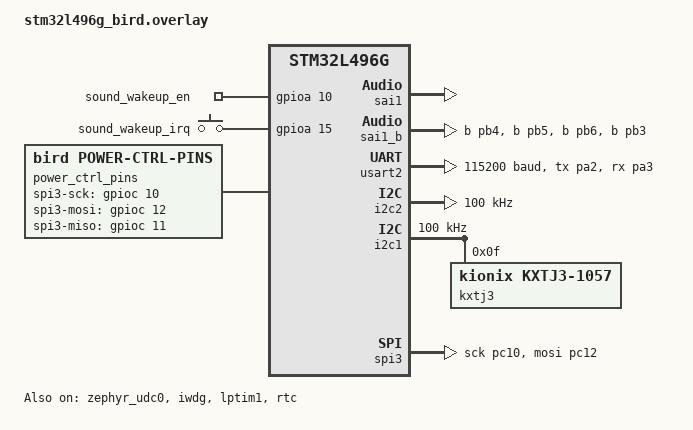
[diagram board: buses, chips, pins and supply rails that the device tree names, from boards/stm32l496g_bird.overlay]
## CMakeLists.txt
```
# SPDX-License-Identifier: Apache-2.0

cmake_minimum_required(VERSION 3.20.0)

find_package(Zephyr REQUIRED HINTS $ENV{ZEPHYR_BASE})
project(app_bird)

if(NOT DEFINED CONFIG_APP_INFERENCE_LABEL_CNT)
    message(FATAL_ERROR "CONFIG_APP_INFERENCE_LABEL_CNT is not defined")
endif()

if(NOT DEFINED CONFIG_APP_INFERENCE_LABELS_FILE OR "${CONFIG_APP_INFERENCE_LABELS_FILE}" STREQUAL "")
    message(FATAL_ERROR "CONFIG_APP_INFERENCE_LABELS_FILE is not defined")
endif()

set(APP_INFERENCE_LABELS_FILE "${CONFIG_APP_INFERENCE_LABELS_FILE}")
if(IS_ABSOLUTE "${APP_INFERENCE_LABELS_FILE}")
    set(APP_INFERENCE_LABELS_PATH "${APP_INFERENCE_LABELS_FILE}")
else()
    set(APP_INFERENCE_LABELS_PATH "${CMAKE_CURRENT_SOURCE_DIR}/${APP_INFERENCE_LABELS_FILE}")
endif()

if(NOT EXISTS "${APP_INFERENCE_LABELS_PATH}")
    message(FATAL_ERROR "Inference label list file not found: ${APP_INFERENCE_LABELS_PATH}")
endif()

set_property(DIRECTORY APPEND PROPERTY CMAKE_CONFIGURE_DEPENDS "${APP_INFERENCE_LABELS_PATH}")

file(READ "${APP_INFERENCE_LABELS_PATH}" APP_INFERENCE_LABELS_CONTENT)
string(REPLACE "\r\n" "\n" APP_INFERENCE_LABELS_CONTENT "${APP_INFERENCE_LABELS_CONTENT}")
string(REPLACE "\r" "\n" APP_INFERENCE_LABELS_CONTENT "${APP_INFERENCE_LABELS_CONTENT}")
string(REPLACE "\n" ";" APP_INFERENCE_LABEL_LINES "${APP_INFERENCE_LABELS_CONTENT}")

set(APP_INFERENCE_LABELS)
foreach(APP_INFERENCE_LABEL_LINE IN LISTS APP_INFERENCE_LABEL_LINES)
    string(STRIP "${APP_INFERENCE_LABEL_LINE}" APP_INFERENCE_LABEL)
    if(NOT "${APP_INFERENCE_LABEL}" STREQUAL "")
        list(APPEND APP_INFERENCE_LABELS "${APP_INFERENCE_LABEL}")
    endif()
endforeach()

list(LENGTH APP_INFERENCE_LABELS APP_INFERENCE_LABELS_COUNT)
if(NOT APP_INFERENCE_LABELS_COUNT EQUAL CONFIG_APP_INFERENCE_LABEL_CNT)
    message(FATAL_ERROR
        "Inference label count mismatch: ${APP_INFERENCE_LABELS_PATH} has "
        "${APP_INFERENCE_LABELS_COUNT} labels, but CONFIG_APP_INFERENCE_LABEL_CNT="
        "${CONFIG_APP_INFERENCE_LABEL_CNT}")
endif()

set(APP_INFERENCE_LABELS_ARRAY "")
foreach(APP_INFERENCE_LABEL IN LISTS APP_INFERENCE_LABELS)
    string(REPLACE "\\" "\\\\" APP_INFERENCE_LABEL_ESCAPED "${APP_INFERENCE_LABEL}")
    string(REPLACE "\"" "\\\"" APP_INFERENCE_LABEL_ESCAPED "${APP_INFERENCE_LABEL_ESCAPED}")
    string(APPEND APP_INFERENCE_LABELS_ARRAY "    \"${APP_INFERENCE_LABEL_ESCAPED}\",\n")
endforeach()

set(APP_INFERENCE_LABELS_GENERATED_DIR "${CMAKE_CURRENT_BINARY_DIR}/include/generated")
set(APP_INFERENCE_LABELS_HEADER "${APP_INFERENCE_LABELS_GENERATED_DIR}/app_inference_labels.h")
file(MAKE_DIRECTORY "${APP_INFERENCE_LABELS_GENERATED_DIR}")
file(WRITE "${APP_INFERENCE_LABELS_HEADER}"
"#pragma once\n"
"\n"
"#define APP_INFERENCE_LABELS_GENERATED_COUNT ${APP_INFERENCE_LABELS_COUNT}\n"
"\n"
"static const char *const kBirdLabels[APP_INFERENCE_LABELS_GENERATED_COUNT] = {\n"
"${APP_INFERENCE_LABELS_ARRAY}"
"};\n")

target_include_directories(app PRIVATE "${APP_INFERENCE_LABELS_GENERATED_DIR}")

if(CONFIG_HAS_SEMTECH_LORAMAC)
    target_include_directories(app PRIVATE
        "${ZEPHYR_LORAMAC_NODE_MODULE_DIR}/src/boards"
        "${ZEPHYR_LORAMAC_NODE_MODULE_DIR}/src/system"
        "${ZEPHYR_LORAMAC_NODE_MODULE_DIR}/src/radio"
        "${ZEPHYR_LORAMAC_NODE_MODULE_DIR}/src/mac"
        "${ZEPHYR_LORAMAC_NODE_MODULE_DIR}/src/mac/region"
    )
endif()

target_sources(app PRIVATE
    src/main.c
    src/app_deep_sleep.c
    src/app_state.c
    src/dfu_task.c
    src/sensor_task.c
    src/imu_task.c
    src/ina3221_task.c
    src/storage_task.c
    src/microphone_task.c
    src/inference_task.c
    src/bird_detect_model_wrapper.c
    src/ezbird_model_wrapper.c
    src/ADC3101.c
    src/lorawan_task.c
    src/gps_task.c
    src/i2c_task.c
    src/rtc_task.c
    src/system_task.c
    src/watchdog_service.c
    src/status_led_task.c
    src/comm_task.c
    src/button_task.c
    src/sound_wakeup_task.c
    src/power_fsm.c
    src/retained_state.c
    src/power_ctrl.c
)

if(CONFIG_DT_HAS_BIRD_RETAINED_BBRAM_ENABLED AND
   NOT EXISTS "${ZEPHYR_BASE}/drivers/retained_mem/retained_mem_bbram.c")
    target_sources(app PRIVATE
        src/drivers/retained_mem_bbram.c
    )
endif()
```

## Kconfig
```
mainmenu "app_all_task"

source "Kconfig.zephyr"

menu "app_all_task feature switches"

config APP_FW_VERSION_MAJOR
	int "Application firmware version major"
	default 0
	range 0 65535
	help
	  Major version printed by the application at boot and carried in
	  app_state telemetry.

config APP_FW_VERSION_MINOR
	int "Application firmware version minor"
	default 0
	range 0 65535
	help
	  Minor version printed by the application at boot and carried in
	  app_state telemetry.

config APP_FW_VERSION_PATCH
	int "Application firmware version patch"
	default 0
	range 0 65535
	help
	  Patch version printed by the application at boot and carried in
	  app_state telemetry.

config APP_LOW_POWER_FSM
	bool "Enable low-power FSM framework"
	default n
	help
	  Enable low-power state-machine integration paths.

config APP_DEEP_SLEEP_ENABLE
	bool "Enable deep-sleep entry paths"
	default n
	help
	  Enable real deep-sleep/standby entry logic.

config APP_RETENTION_ENABLE
	bool "Enable retained RAM features"
	default n
	help
	  Enable retained RAM based state persistence.

config APP_DEEP_SLEEP_SIMULATE
	bool "Simulate deep sleep for debug"
	default n
	help
	  Keep low-power flow testable on platforms where true standby is
	  unavailable during bring-up.

config APP_MICROPHONE_DEBUG_SKIP_GPS_LORA
	bool "Microphone debug: skip real GPS and LoRa operations"
	default n
	help
	  Enable this while debugging the microphone/codec path. GPS acquisition,
	  GPS power toggling, LoRaWAN join, and LoRaWAN uplink calls are skipped so
	  microphone tests are not blocked by radio/GNSS hardware behavior.

config APP_LORAWAN_BOOT_UPLINK_DEBUG
	bool "LoRaWAN debug: send one uplink immediately after startup join"
	default n
	help
	  Send one diagnostic LoRaWAN uplink immediately after the startup join
	  succeeds. This is intended to separate boot-time radio behavior from
	  later GPS/power-FSM driven uplinks.

config APP_LORAWAN_BOOT_REPEAT_UPLINK_DEBUG
	bool "LoRaWAN debug: send a second startup uplink before power FSM"
	default n
	depends on APP_LORAWAN_BOOT_UPLINK_DEBUG
	help
	  After the immediate startup debug uplink succeeds, keep the boot path
	  active, wait for APP_LORAWAN_BOOT_REPEAT_DELAY_MS, then send a second
	  uplink using the same LoRaWAN session before GPS, comm worker, or the
	  power FSM can drive another uplink.

config APP_LORAWAN_BOOT_REPEAT_DELAY_MS
	int "LoRaWAN debug repeat uplink delay"
	default 60000
	range 1000 600000
	depends on APP_LORAWAN_BOOT_REPEAT_UPLINK_DEBUG
	help
	  Delay before sending the second startup debug uplink.

config APP_STATUS_LED
	bool "Enable low-power managed status LED"
	default y
	help
	  Enable short, event-driven LED pulses. The LED is forced off before
	  suspend/deep sleep and must not be used directly by feature tasks.

config APP_INFERENCE_LABEL_CNT
	int "Inference classifier label count"
	default 11
	range 1 254
	help
	  Number of classifier vocabulary labels. LoRa uplinks report this many
	  label count buckets plus one extra bucket for bird detections whose
	  confidence is below the threshold.

config APP_INFERENCE_LABELS_FILE
	string "Inference classifier label list file"
	default "config/inference_labels.txt"
	help
	  Text file containing one human-readable classifier label per line.
	  Relative paths are resolved from the application source directory.

config APP_INFERENCE_USE_INT16_QUANT_MODEL
	bool "Use int16 quantized inference model interface"
	default n
	help
	  Use int16_t fixed-point tensors for the generated Qualia model headers.
	  The application still computes MFCC features in float, then quantizes
	  them before model execution and dequantizes output logits for scoring.

config APP_MIC_MICPGA_GAIN_DB
	int "ADC3101 microphone PGA gain in dB"
	default 12
	range 0 40
	help
	  Analog microphone PGA gain applied to both ADC3101 channels. The codec
	  register uses 0.5 dB steps, so the integer dB value is written as
	  gain_db * 2.

config APP_LORAWAN_UPLINK_INTERVAL_MS
	int "LoRaWAN uplink interval"
	default 1800000
	range 1000 86400000
	help
	  Time window for one LoRaWAN telemetry packet. The default is 30 minutes.

config APP_SUSPEND_TO_ACTIVE_PERIOD_MS
	int "Suspend-to-active periodic wake interval"
	default 30000
	range 1000 86400000
	help
	  Periodic wake interval used by the active/suspend power FSM. The default
	  is 30 seconds.

config APP_SD_POWER_SETTLE_MS
	int "SD power-on settle delay"
	default 500
	range 0 10000
	help
	  Delay after v_periph is physically enabled before the first SD mount
	  attempt. This is used to make cold SD power cycles reliable.

config APP_SD_MOUNT_MAX_ATTEMPTS
	int "Maximum SD mount attempts per ACTIVE period"
	default 3
	range 1 10
	help
	  Maximum number of single, fully-cleaned SD mount attempts in one ACTIVE
	  period. A failed attempt is cleaned up before any retry.

config APP_SD_MOUNT_RETRY_BASE_MS
	int "SD mount retry base delay"
	default 500
	range 100 60000
	help
	  Base delay before retrying a failed SD mount attempt. Later retries use
	  exponential backoff up to APP_SD_MOUNT_RETRY_MAX_MS.

config APP_SD_MOUNT_RETRY_MAX_MS
	int "SD mount retry maximum delay"
	default 5000
	range 100 60000
	help
	  Maximum delay between cleaned SD mount attempts.

config APP_SD_SUSPEND_RETRY_MS
	int "Suspend preparation retry delay"
	default 500
	range 100 60000
	help
	  Delay before retrying suspend preparation when SD unmount or another
	  storage operation is still busy.

config APP_SD_SUSPEND_RETRY_MAX
	int "Maximum suspend preparation attempts"
	default 3
	range 1 20
	help
	  Maximum number of suspend preparation attempts, including the initial
	  attempt, before storage is force-detached and the shared v_periph rail
	  is powered off. This bounds the extra active time after an SD failure.

config APP_SD_SUSPEND_RETRY_MAX_MS
	int "Suspend preparation maximum retry delay"
	default 5000
	range 100 60000
	help
	  Maximum delay between bounded suspend preparation retries when storage
	  cannot yet finish an outstanding SD operation.

config APP_SD_FUSE_BACKOFF_SEC
	int "SD fuse backoff duration in seconds"
	default 300
	range 1 86400
	help
	  Time to suppress SD mount and file access after the SD failure fuse is
	  activated. The production configuration may shorten this interval while
	  preserving the same failure threshold and retained-state behavior.

config APP_LORAWAN_APP_KEY_HEX
	string "LoRaWAN OTAA AppKey in hex"
	default ""
	help
	  LoRaWAN OTAA AppKey as 32 hexadecimal characters, MSB first. Keep this
	  value in a private build configuration when publishing the application.

config APP_DEEP_SLEEP_WAKE_SEC
	int "Deep sleep wake interval in seconds"
	default 10800
	range 30 86400
	help
	  RTC wake interval used for low-battery shutdown/recovery and default
	  deep-sleep periods. The default is 3 hours.

config APP_INFERENCE_DETECT_CONF_THRESH_PERCENT
	int "Bird detector confidence threshold percent"
	default 50
	range 0 100
	help
	  Minimum small-model bird probability required before running the
	  classifier. Bird-positive detections below this threshold are counted in
	  the extra low-confidence bird uplink bucket.

config APP_GPS_UPLINK_WAIT_TIMEOUT_MS
	int "GPS wait timeout before LoRa uplink"
	default 30000
	range 0 300000
	help
	  Maximum time to wait for a GPS fix before sending the pending LoRa uplink
	  without fresh GPS data.

menu "Wakeup source switches"

config APP_WAKEUP_SRC_BUTTON
	bool "Enable button wakeup source"
	default y
	help
	  Allow button IRQ to wake the power FSM.

config APP_WAKEUP_SRC_PERIODIC
	bool "Enable periodic wakeup source"
	default y
	help
	  Allow periodic timer window to wake the power FSM.

config APP_WAKEUP_SRC_COMM
	bool "Enable comm wakeup source"
	default y
	help
	  Allow communication requests to wake the power FSM.

config APP_WAKEUP_SRC_RTC_ALARM
	bool "Enable RTC alarm wakeup source"
	default y
	help
	  Allow RTC alarm callback to wake the power FSM.

config APP_WAKEUP_SRC_SOUND
	bool "Enable sound IRQ wakeup source"
	default y
	help
	  Allow external sound IRQ to wake the power FSM.

config APP_WAKEUP_SRC_LOW_BAT
	bool "Enable low-battery wakeup source"
	default y
	help
	  Allow low-battery event to force transition into deep sleep.

config APP_GPS_LOCAL_TIME_OFFSET_HOURS
	int
	default 2
	range -12 14
	help
	  Deprecated compatibility option. RTC and retained GPS sync epochs stay
	  in UTC; audio storage paths also use UTC.

endmenu

endmenu
```

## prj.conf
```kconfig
# Application feature switches
CONFIG_APP_FW_VERSION_MAJOR=2
CONFIG_APP_FW_VERSION_MINOR=1
CONFIG_APP_FW_VERSION_PATCH=0
CONFIG_APP_STATUS_LED=y
CONFIG_APP_LOW_POWER_FSM=y
CONFIG_APP_DEEP_SLEEP_ENABLE=y
CONFIG_APP_RETENTION_ENABLE=y
CONFIG_APP_DEEP_SLEEP_SIMULATE=n
CONFIG_APP_MICROPHONE_DEBUG_SKIP_GPS_LORA=n

# Application timing, audio, and inference parameters
CONFIG_APP_INFERENCE_LABEL_CNT=11
CONFIG_APP_INFERENCE_LABELS_FILE="config/inference_labels.txt"
CONFIG_APP_INFERENCE_USE_INT16_QUANT_MODEL=y
CONFIG_APP_MIC_MICPGA_GAIN_DB=12
CONFIG_APP_LORAWAN_UPLINK_INTERVAL_MS=1800000
CONFIG_APP_SUSPEND_TO_ACTIVE_PERIOD_MS=30000
CONFIG_APP_SD_POWER_SETTLE_MS=500
CONFIG_APP_SD_MOUNT_MAX_ATTEMPTS=3
CONFIG_APP_SD_MOUNT_RETRY_BASE_MS=500
CONFIG_APP_SD_MOUNT_RETRY_MAX_MS=5000
CONFIG_APP_SD_SUSPEND_RETRY_MS=500
CONFIG_APP_SD_SUSPEND_RETRY_MAX=3
CONFIG_APP_SD_SUSPEND_RETRY_MAX_MS=5000
CONFIG_APP_SD_FUSE_BACKOFF_SEC=60
CONFIG_APP_GPS_UPLINK_WAIT_TIMEOUT_MS=60000
CONFIG_APP_DEEP_SLEEP_WAKE_SEC=10800
CONFIG_APP_LORAWAN_APP_KEY_HEX="603F3636A03926ABE7521ABE84049BE2"

# Wakeup sources
CONFIG_APP_WAKEUP_SRC_BUTTON=y
CONFIG_APP_WAKEUP_SRC_PERIODIC=y
CONFIG_APP_WAKEUP_SRC_COMM=y
CONFIG_APP_WAKEUP_SRC_RTC_ALARM=y
CONFIG_APP_WAKEUP_SRC_SOUND=y
CONFIG_APP_WAKEUP_SRC_LOW_BAT=y

# Logging
CONFIG_LOG=y
CONFIG_LOG_MODE_DEFERRED=y
# CONFIG_LOG_MODE_MINIMAL is not set
# CONFIG_LOG_MODE_IMMEDIATE is not set
CONFIG_LOG_PRINTK=n
CONFIG_LOG_BUFFER_SIZE=4096
CONFIG_LOG_DEFAULT_LEVEL=3
CONFIG_LOG_PROCESS_THREAD_STACK_SIZE=4096
CONFIG_LOG_PROCESS_THREAD_SLEEP_MS=1000
CONFIG_PM_LOG_LEVEL_DBG=y

# Console and serial
CONFIG_CONSOLE=y
CONFIG_UART_CONSOLE=y
CONFIG_SERIAL=y

# Kernel stacks, heap, and diagnostics
CONFIG_MAIN_STACK_SIZE=8192
CONFIG_SYSTEM_WORKQUEUE_STACK_SIZE=4096
CONFIG_IDLE_STACK_SIZE=512
CONFIG_ISR_STACK_SIZE=4096
CONFIG_HEAP_MEM_POOL_SIZE=4096
CONFIG_ASSERT=n
CONFIG_INIT_STACKS=y
CONFIG_THREAD_STACK_INFO=y
CONFIG_STACK_SENTINEL=y
CONFIG_THREAD_ANALYZER=n
CONFIG_THREAD_ANALYZER_AUTO=n
CONFIG_THREAD_ANALYZER_RUN_UNLOCKED=n
CONFIG_THREAD_NAME=n

# C library, printf, and size options
CONFIG_PICOLIBC=y
CONFIG_CBPRINTF_FP_SUPPORT=y
CONFIG_CBPRINTF_REDUCED_INTEGRAL=y
CONFIG_SIZE_OPTIMIZATIONS=y
# CONFIG_LTO is not set

# GPIO, ADC, I2C, and regulators
CONFIG_GPIO=y
CONFIG_ADC=y
CONFIG_ADC_STM32=y
CONFIG_I2C=y
CONFIG_I2C_STM32_BUS_RECOVERY=y
CONFIG_I2C_STM32_V2_TIMING=y
CONFIG_REGULATOR=y
CONFIG_REGULATOR_FIXED=y

# Sensors
CONFIG_SENSOR=y
CONFIG_BME280=y
CONFIG_INA3221=y
CONFIG_VOLTAGE_DIVIDER=n

# Audio capture and inference DSP
CONFIG_I2S=y
CONFIG_I2S_STM32_SAI=y
CONFIG_I2S_STM32_SAI_BLOCK_COUNT=18
CONFIG_DMA=y
CONFIG_FPU=y
CONFIG_FPU_SHARING=y
CONFIG_CMSIS_DSP=y
CONFIG_CMSIS_DSP_BASICMATH=y
CONFIG_CMSIS_DSP_STATISTICS=y
CONFIG_CMSIS_DSP_TRANSFORM=y
CONFIG_CMSIS_DSP_COMPLEXMATH=y
CONFIG_CMSIS_DSP_MATRIX=y
CONFIG_CMSIS_DSP_FASTMATH=y

# Filesystem and SD card over SPI
CONFIG_FILE_SYSTEM=y
CONFIG_FAT_FILESYSTEM_ELM=y
CONFIG_FS_FATFS_LFN=y
CONFIG_DISK_ACCESS=y
CONFIG_SDHC=y
CONFIG_SPI=y

# LoRaWAN connectivity
CONFIG_LORA=y
CONFIG_LORAWAN=y
CONFIG_LORAWAN_REGION_EU868=y
CONFIG_SETTINGS=y
CONFIG_SETTINGS_NVS=y
CONFIG_LORAWAN_NVM_SETTINGS=y

# RTC, low-power kernel support, and retention
CONFIG_RTC=y
CONFIG_RTC_STM32=y
CONFIG_RTC_ALARM=y
CONFIG_PM=y
CONFIG_PM_DEVICE_RUNTIME=y
CONFIG_PM_DEVICE=y
CONFIG_POWEROFF=y
CONFIG_HWINFO=y
CONFIG_RESET=y
CONFIG_CSPRNG_NEEDED=y
CONFIG_CORTEX_M_SYSTICK=n
CONFIG_STM32_LPTIM_TIMER=y
CONFIG_SYS_CLOCK_TICKS_PER_SEC=4096
CONFIG_RETAINED_MEM=y
CONFIG_RETENTION=y

# Watchdog and reboot
CONFIG_WATCHDOG=y
CONFIG_IWDG_STM32_INITIAL_TIMEOUT=26214
CONFIG_REBOOT=y

# Flash, NVS, and DFU storage
CONFIG_FLASH=y
CONFIG_FLASH_PAGE_LAYOUT=y
CONFIG_FLASH_MAP=y
CONFIG_NVS=y
CONFIG_NVS_INIT_BAD_MEMORY_REGION=y
CONFIG_STREAM_FLASH=y
CONFIG_MPU_ALLOW_FLASH_WRITE=y

# MCUboot image management and automatic signing artifacts
CONFIG_USE_DT_CODE_PARTITION=y
CONFIG_BOOTLOADER_MCUBOOT=y
CONFIG_IMG_MANAGER=y
CONFIG_MCUBOOT_IMG_MANAGER=y
CONFIG_MCUBOOT_BOOTLOADER_MODE_OVERWRITE_ONLY=y
# CONFIG_MCUBOOT_GENERATE_UNSIGNED_IMAGE is not set
CONFIG_MCUBOOT_SIGNATURE_KEY_FILE="/home/usr_name/zephyrproject/keys/bird-mcuboot-ec256.pem"
CONFIG_MCUBOOT_BOOTUTIL_LIB=y
CONFIG_MCUBOOT_IMGTOOL_SIGN_VERSION="2.1.0+0"
```

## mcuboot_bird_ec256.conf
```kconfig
# Disable MCUboot's no-signature development mode
# CONFIG_BOOT_SIGNATURE_TYPE_NONE is not set

CONFIG_BOOT_SIGNATURE_TYPE_ECDSA_P256=y
CONFIG_BOOT_ECDSA_TINYCRYPT=y
CONFIG_BOOT_SIGNATURE_KEY_FILE="/home/usr_name/zephyrproject/keys/bird-mcuboot-ec256.pem"

# Validate primary slot on every boot
CONFIG_BOOT_VALIDATE_SLOT0=y

# Match current app_all_task overwrite-only DFU mode
CONFIG_BOOT_UPGRADE_ONLY=y
```

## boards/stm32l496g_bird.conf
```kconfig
CONFIG_BBRAM=y
CONFIG_RETAINED_MEM_INIT_PRIORITY=70
```

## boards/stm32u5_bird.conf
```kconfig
CONFIG_RETAINED_MEM_ZEPHYR_RAM=y
CONFIG_STM32_BACKUP_SRAM_INIT_PRIORITY=80

# Route the U5 application console/log UART backend through USB CDC ACM.
CONFIG_USB_DEVICE_STACK=y
CONFIG_USB_DEVICE_STACK_NEXT=n
CONFIG_USB_COMPOSITE_DEVICE=y
CONFIG_USB_CDC_ACM=y
CONFIG_USB_DEVICE_INITIALIZE_AT_BOOT=y
CONFIG_UART_LINE_CTRL=y
```

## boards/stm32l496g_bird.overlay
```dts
#include <zephyr/dt-bindings/gpio/gpio.h>
#include <zephyr/dt-bindings/pinctrl/stm32-pinctrl.h>

/* Board-specific overlay to enable SAI1 Block B and correct audio PLL setup */

/ {
	aliases {
		rtc = &rtc;
		sound-wakeup-en = &sound_wakeup_en;
		sound-wakeup-irq = &sound_wakeup_irq;
	};

	sound_wakeup_leds {
		compatible = "gpio-leds";
		sound_wakeup_en: sound_wakeup_en {
			gpios = <&gpioa 10 GPIO_ACTIVE_HIGH>;
			label = "sound_wakeup_en";
		};
	};

	sound_wakeup_keys {
		compatible = "gpio-keys";
		sound_wakeup_irq: sound_wakeup_irq {
			gpios = <&gpioa 15 (GPIO_ACTIVE_HIGH | GPIO_PULL_DOWN)>;
			label = "sound_wakeup_irq";
		};
	};

	chosen {
		//zephyr,console = &cdc_acm_uart0;
		//zephyr,shell-uart = &cdc_acm_uart0;
		zephyr,console = &usart2;
		zephyr,shell-uart = &usart2;
		zephyr,code-partition = &slot0_partition;
		zephyr,retained-ram = &retained_mem;
		zephyr,retained-mem = &app_retention;
	};

	power_ctrl_pins: power-ctrl-pins {
		compatible = "bird,power-ctrl-pins";
		spi3-sck-gpios = <&gpioc 10 GPIO_ACTIVE_HIGH>;
		spi3-mosi-gpios = <&gpioc 12 GPIO_ACTIVE_HIGH>;
		spi3-miso-gpios = <&gpioc 11 GPIO_ACTIVE_HIGH>;
	};

	retained_mem: retainedmem-bbram {
		compatible = "bird,retained-bbram";
		bbram = <&bbram>;
		offset = <0x8>;
		size = <0x78>;
		status = "okay";
		#address-cells = <1>;
		#size-cells = <1>;

		app_retention: retention@0 {
			compatible = "zephyr,retention";
			status = "okay";
			reg = <0x0 0x78>;
			prefix = [4C 34];
			checksum = <1>;
		};
	};
};

&{/soc/pin-controller@48000000} {
	spi3_sck_pc10_sleep: spi3_sck_pc10_sleep {
		pinmux = <STM32_PINMUX('C', 10, ANALOG)>;
	};

	spi3_miso_pc11_sleep: spi3_miso_pc11_sleep {
		pinmux = <STM32_PINMUX('C', 11, ANALOG)>;
	};

	spi3_mosi_pc12_sleep: spi3_mosi_pc12_sleep {
		pinmux = <STM32_PINMUX('C', 12, ANALOG)>;
	};

	sai1_sck_b_pb3_sleep: sai1_sck_b_pb3_sleep {
		pinmux = <STM32_PINMUX('B', 3, ANALOG)>;
	};

	sai1_mclk_b_pb4_sleep: sai1_mclk_b_pb4_sleep {
		pinmux = <STM32_PINMUX('B', 4, ANALOG)>;
	};

	sai1_sd_b_pb5_sleep: sai1_sd_b_pb5_sleep {
		pinmux = <STM32_PINMUX('B', 5, ANALOG)>;
	};

	sai1_fs_b_pb6_sleep: sai1_fs_b_pb6_sleep {
		pinmux = <STM32_PINMUX('B', 6, ANALOG)>;
	};

	i2c1_scl_pb8_sleep: i2c1_scl_pb8_sleep {
		pinmux = <STM32_PINMUX('B', 8, ANALOG)>;
	};

	i2c1_sda_pb9_sleep: i2c1_sda_pb9_sleep {
		pinmux = <STM32_PINMUX('B', 9, ANALOG)>;
	};

	i2c2_scl_pb13_sleep: i2c2_scl_pb13_sleep {
		pinmux = <STM32_PINMUX('B', 13, ANALOG)>;
	};

	i2c2_sda_pb14_sleep: i2c2_sda_pb14_sleep {
		pinmux = <STM32_PINMUX('B', 14, ANALOG)>;
	};
};

/* Audio PLL retuned for ~16 kHz SAI master mode:
 * HSI (16 MHz) feeds PLLSAI1 with M=1, N=18 so VCO=288 MHz.
 * P divider of 5 gives a 57.6 MHz SAI kernel clock, which lands on 16 kHz
 * after the STM32 SAI master clock divider computes MCKDIV=7.
 * Q/R stay available at 48 MHz via divisor 6 for other peripherals.
 */


&pllsai1 {
	div-m = <1>;
	mul-n = <18>;
	div-p = <5>;
	div-q = <6>;
	div-r = <6>;
	clocks = <&clk_hsi>;
	status = "okay";
};

&sai1 {
	status = "okay";
};

&sai1_b {
	pinctrl-0 = <&sai1_mclk_b_pb4 &sai1_sd_b_pb5 &sai1_fs_b_pb6 &sai1_sck_b_pb3>;
	pinctrl-1 = <&sai1_mclk_b_pb4_sleep &sai1_sd_b_pb5_sleep
		     &sai1_fs_b_pb6_sleep &sai1_sck_b_pb3_sleep>;
	pinctrl-names = "default", "sleep";
	mclk-enable;
	mclk-divider = "div-256";
	dma-names = "rx";
	status = "okay";
};


&v_periph {
	startup-delay-us = <200000>; /* 200 ms */
};

&usart1 {
	status = "disabled";
};

&usart2 {
	/* ST-Link VCP debug: PA2(TX), PA3(RX) */
	pinctrl-0 = <&usart2_tx_pa2 &usart2_rx_pa3>;
	pinctrl-names = "default";
	current-speed = <115200>;
	status = "okay";
};

&zephyr_udc0 {
	status = "okay";
};

&i2c2 {
	pinctrl-1 = <&i2c2_scl_pb13_sleep &i2c2_sda_pb14_sleep>;
	pinctrl-names = "default", "sleep";
	clock-frequency = <100000>;
};

&ina3221 {
	/* Match ambient_firmware.ino:
	 * ch1 (solar): 0.075 ohm (2x 0.150 ohm in parallel) => 75 mOhm
	 * ch2 (battery): 0.150 ohm => 150 mOhm
	 */
	shunt-resistors = <75 150 0>;
	enable-channel = <1 1 0>;
	zephyr,deferred-init;
};

&dma2 {
	status = "okay";
};

&iwdg {
	status = "okay";
};

&clk_lse {
	status = "okay";
};

stm32_lp_tick_source: &lptim1 {
	clocks = <&rcc STM32_CLOCK(APB1, 31)>,
		 <&rcc STM32_SRC_LSE LPTIM1_SEL(3)>;
	status = "okay";
};

&rtc {
	clocks = <&rcc STM32_CLOCK(APB1, 28)>,
		 <&rcc STM32_SRC_LSE RTC_SEL(1)>;
	status = "okay";
	wakeup-source;

	bbram: backup_regs {
		compatible = "st,stm32-bbram";
		st,backup-regs = <32>;
		status = "okay";
	};
};

&gpioa {
	status = "okay";
	wakeup-source;
};

&i2c1 {
	/* Lower bitrate for more robust GNSS NMEA-over-I2C */
	pinctrl-1 = <&i2c1_scl_pb8_sleep &i2c1_sda_pb9_sleep>;
	pinctrl-names = "default", "sleep";
	clock-frequency = <100000>;
	kxtj3: kxtj3@f {
		compatible = "kionix,kxtj3-1057";
		reg = <0x0f>;
		status = "okay";
	};
	status = "okay";
};

&spi3 {
	pinctrl-0 = <&spi3_sck_pc10 &spi3_miso_pc11_pullup &spi3_mosi_pc12>;
	pinctrl-1 = <&spi3_sck_pc10_sleep &spi3_miso_pc11_sleep &spi3_mosi_pc12_sleep>;
	pinctrl-names = "default", "sleep";
};
```

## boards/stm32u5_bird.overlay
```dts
#include <zephyr/dt-bindings/gpio/gpio.h>
#include <zephyr/dt-bindings/pinctrl/stm32-pinctrl.h>

/* Board-specific overlay to enable SAI1 Block B and correct audio PLL setup */

/ {
	aliases {
		rtc = &rtc;
		sound-wakeup-en = &sound_wakeup_en;
		sound-wakeup-irq = &sound_wakeup_irq;
	};

	sound_wakeup_leds {
		compatible = "gpio-leds";
		sound_wakeup_en: sound_wakeup_en {
			gpios = <&gpioa 10 GPIO_ACTIVE_HIGH>;
			label = "sound_wakeup_en";
		};
	};

	sound_wakeup_keys {
		compatible = "gpio-keys";
		sound_wakeup_irq: sound_wakeup_irq {
			gpios = <&gpioa 15 (GPIO_ACTIVE_HIGH | GPIO_PULL_DOWN)>;
			label = "sound_wakeup_irq";
		};
	};

	chosen {
		zephyr,console = &cdc_acm_uart0;
		zephyr,shell-uart = &cdc_acm_uart0;
		zephyr,code-partition = &slot0_partition;
		zephyr,retained-ram = &retained_mem;
		zephyr,retained-mem = &app_retention;
	};

	retained_region: backup-retention@40036400 {
		compatible = "mmio-sram";
		reg = <0x40036400 0x400>;
		status = "okay";
		#address-cells = <1>;
		#size-cells = <1>;

		retained_mem: retainedmem@0 {
			compatible = "zephyr,retained-ram";
			reg = <0x0 0x400>;
			status = "okay";
			#address-cells = <1>;
			#size-cells = <1>;

			app_retention: retention@0 {
				compatible = "zephyr,retention";
				status = "okay";
				reg = <0x0 0x80>;
				prefix = [4C 50];
				checksum = <1>;
			};
		};
	};
};

&backup_sram {
	status = "okay";
};

&rng {
	status = "okay";
};

&zephyr_udc0 {
	/* PA11/PA12 use the embedded full-speed PHY; avoid invalid HS CDC
	 * descriptors.
	 */
	maximum-speed = "full-speed";
};

&{/soc/pin-controller@42020000} {
	spi3_sck_pc10_sleep: spi3_sck_pc10_sleep {
		pinmux = <STM32_PINMUX('C', 10, ANALOG)>;
	};

	spi3_miso_pc11_sleep: spi3_miso_pc11_sleep {
		pinmux = <STM32_PINMUX('C', 11, ANALOG)>;
	};

	spi3_mosi_pc12_sleep: spi3_mosi_pc12_sleep {
		pinmux = <STM32_PINMUX('C', 12, ANALOG)>;
	};
};

&sai1_b {
    /* 工作时的引脚配置 */
    pinctrl-0 = <&sai1_mclk_b_pb4 &sai1_sd_b_pb5 &sai1_fs_b_pb6 &sai1_sck_b_pb3>;
    pinctrl-1 = <&sai1_mclk_b_pb4_sleep &sai1_sd_b_pb5_sleep &sai1_fs_b_pb6_sleep &sai1_sck_b_pb3_sleep>;
	
    /* 声明这两种状态的名字 */
    pinctrl-names = "default", "sleep";
    
    mclk-enable;
    mclk-divider = "div-256";
    dma-names = "rx";
    status = "okay";
};

&i2c2 {
	clock-frequency = <100000>;
};

&i2c1 {
	clock-frequency = <100000>;
};

&ina3221 {
	/* Match ambient_firmware.ino:
	 * ch1 (solar): 0.075 ohm (2x 0.150 ohm in parallel) => 75 mOhm
	 * ch2 (battery): 0.150 ohm => 150 mOhm
	 */
	shunt-resistors = <75 150 0>;
	enable-channel = <1 1 0>;
	zephyr,deferred-init;
};

&iwdg {
	status = "okay";
};

&rtc {
	clocks = <&rcc STM32_CLOCK(APB3, 21)>,
		 <&rcc STM32_SRC_LSE RTC_SEL(1)>;
	status = "okay";
	wakeup-source;
};

&gpioa {
	status = "okay";
	wakeup-source;
};

&gpiob {
	status = "okay";
};

&gpioc {
	status = "okay";
	wakeup-source;
};

&power_ctrl_pins {
	compatible = "bird,power-ctrl-pins";
	spi3-miso-gpios = <&gpioc 11 GPIO_ACTIVE_HIGH>;
	sd-cd-gpios = <&gpioa 8 GPIO_ACTIVE_HIGH>;
};

&i2c1 {
	/* Lower bitrate for more robust GNSS NMEA-over-I2C */
	clock-frequency = <100000>;
	kxtj3: kxtj3@f {
		compatible = "kionix,kxtj3-1057";
		reg = <0x0f>;
		status = "okay";
	};
	status = "okay";
};

&spi3 {
	pinctrl-0 = <&spi3_sck_pc10 &spi3_miso_pc11_pullup &spi3_mosi_pc12>;
	pinctrl-1 = <&spi3_sck_pc10_sleep &spi3_miso_pc11_sleep &spi3_mosi_pc12_sleep>;
	pinctrl-names = "default", "sleep";
	clocks = <&rcc STM32_CLOCK(APB3, 5)>,
		 <&rcc STM32_SRC_HSI16 SPI3_SEL(2)>;
};

&pll2 {
    div-m = <4>;
    mul-n = <65>;
    fracn = <4391>;
    div-p = <2>;
    div-q = <2>;
    div-r = <2>;
    clocks = <&clk_hse>;
    status = "okay";
};
```

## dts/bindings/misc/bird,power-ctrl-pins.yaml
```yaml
description: Ambient board auxiliary power-control GPIO pins

compatible: "bird,power-ctrl-pins"

properties:
  sd-on-gpios:
    type: phandle-array
    description: SD_ON_OFF / peripheral rail companion enable GPIO

  spi3-sck-gpios:
    type: phandle-array
    description: SPI3 SCK GPIO used for low-power parking

  spi3-mosi-gpios:
    type: phandle-array
    description: SPI3 MOSI GPIO used for low-power parking

  spi3-miso-gpios:
    type: phandle-array
    description: SPI3 MISO GPIO used for low-power parking

  sd-cd-gpios:
    type: phandle-array
    description: SD card-detect GPIO used for low-power parking
```

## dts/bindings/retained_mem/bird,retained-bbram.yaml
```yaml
description: Retained memory window backed by a BBRAM device

compatible: "bird,retained-bbram"

include: base.yaml

properties:
  bbram:
    type: phandle
    required: true
    description: BBRAM device used as the retained storage backend

  offset:
    type: int
    default: 0
    description: Byte offset into the BBRAM device

  size:
    type: int
    required: true
    description: Size of the retained memory window in bytes

  "#address-cells":
    const: 1

  "#size-cells":
    const: 1
```

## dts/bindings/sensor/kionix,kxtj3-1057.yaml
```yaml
description: Kionix KXTJ3-1057 3-axis accelerometer

compatible: "kionix,kxtj3-1057"

include: [sensor-device.yaml, i2c-device.yaml]

properties:
  friendly-name:
    type: string
    description: Human readable sensor name
```

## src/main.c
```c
#include <zephyr/kernel.h>
#include <zephyr/logging/log.h>
#include <zephyr/lorawan/lorawan.h>
#include <zephyr/device.h>
#include <zephyr/dfu/mcuboot.h>
#include <zephyr/pm/policy.h>
#include <zephyr/pm/state.h>
#include <zephyr/storage/flash_map.h>
#include <zephyr/drivers/hwinfo.h>

#include "tasks.h"
#include "app_feature_flags.h"
#include "retained_state.h"

LOG_MODULE_REGISTER(app, LOG_LEVEL_INF);

#define APP_BOOT_COLD_POWERCYCLE_MS 1000U
#define APP_BOOT_GPS_SYNC_TIMEOUT_MS (3U * 60U * 1000U)
#define APP_BOOT_GPS_RETRY_DELAY_MS  5000U
#define APP_BOOT_DEBUG_WAIT_SLICE_MS 1000U

#define SLOT1_AREA_ID              FIXED_PARTITION_ID(slot1_partition)
#define APP_STARTUP_I2C_SCAN_ENABLED 0

static bool app_pm_boot_guard_locked;

static void boot_debug_wait_with_watchdog_feed(uint32_t delay_ms)
{
	uint32_t remain_ms = delay_ms;

	while (remain_ms > 0U) {
		uint32_t slice_ms = (remain_ms > APP_BOOT_DEBUG_WAIT_SLICE_MS) ?
			APP_BOOT_DEBUG_WAIT_SLICE_MS : remain_ms;

		task_watchdog_mark_main_alive();
		task_watchdog_feed();
		k_msleep(slice_ms);
		remain_ms -= slice_ms;
	}

	task_watchdog_mark_main_alive();
	task_watchdog_feed();
}

static void app_pm_boot_guard_lock(void)
{
#if IS_ENABLED(CONFIG_PM)
	if (app_pm_boot_guard_locked) {
		return;
	}

	pm_policy_state_lock_get(PM_STATE_SUSPEND_TO_IDLE, PM_ALL_SUBSTATES);
	app_pm_boot_guard_locked = true;
	LOG_INF("[PWR] Boot guard: lock all SUSPEND_TO_IDLE substates during init");
#endif
}

static void app_pm_boot_guard_unlock(void)
{
#if IS_ENABLED(CONFIG_PM)
	if (!app_pm_boot_guard_locked) {
		return;
	}

	pm_policy_state_lock_put(PM_STATE_SUSPEND_TO_IDLE, PM_ALL_SUBSTATES);
	app_pm_boot_guard_locked = false;
	LOG_INF("[PWR] Boot guard: unlock SUSPEND_TO_IDLE substates (PM active)");
#endif
}

static const char *swap_type_to_str(int swap_type)
{
	switch (swap_type) {
	case BOOT_SWAP_TYPE_NONE:
		return "none";
	case BOOT_SWAP_TYPE_TEST:
		return "test";
	case BOOT_SWAP_TYPE_PERM:
		return "perm";
	case BOOT_SWAP_TYPE_REVERT:
		return "revert";
	case BOOT_SWAP_TYPE_FAIL:
		return "fail";
	default:
		return "unknown";
	}
}

static void log_boot_self_check(void)
{
	uint8_t active_slot = boot_fetch_active_slot();
	int swap_type = mcuboot_swap_type();
	bool img_confirmed = boot_is_img_confirmed();
	struct mcuboot_img_header slot1_hdr;
	int ret = boot_read_bank_header((uint8_t)SLOT1_AREA_ID, &slot1_hdr, sizeof(slot1_hdr));

	if (swap_type >= 0) {
		LOG_INF("Boot self-check: active_slot=%u swap_type=%d(%s) confirmed=%s",
			(unsigned int)active_slot,
			swap_type,
			swap_type_to_str(swap_type),
			img_confirmed ? "yes" : "no");
	} else {
		LOG_WRN("Boot self-check: active_slot=%u swap_type read failed: %d confirmed=%s",
			(unsigned int)active_slot,
			swap_type,
			img_confirmed ? "yes" : "no");
	}

	if (ret == 0) {
		LOG_INF("Boot self-check: slot1 version=%u.%u.%u+%u size=%u",
			(unsigned int)slot1_hdr.h.v1.sem_ver.major,
			(unsigned int)slot1_hdr.h.v1.sem_ver.minor,
			(unsigned int)slot1_hdr.h.v1.sem_ver.revision,
			(unsigned int)slot1_hdr.h.v1.sem_ver.build_num,
			(unsigned int)slot1_hdr.h.v1.image_size);
	} else {
		LOG_WRN("Boot self-check: slot1 header read failed: %d", ret);
	}
}

static bool is_gps_time_legal(void)
{
	uint32_t now_epoch = 0U;
	struct retained_state_v1 retained;

	if (task_rtc_get_epoch_local(&now_epoch) < 0) {
		return false;
	}

	if (retained_state_load(&retained) < 0) {
		return false;
	}

	if (retained.last_gps_sync_epoch == 0U) {
		return false;
	}

	return now_epoch >= retained.last_gps_sync_epoch;
}

static void ensure_boot_gps_time_blocking(void)
{
	if (APP_MICROPHONE_DEBUG_SKIP_GPS_LORA_ENABLED) {
		LOG_INF("[BOOT] microphone debug mode: skip blocking GPS time sync");
		return;
	}

	uint32_t start_ms = k_uptime_get_32();

	while ((k_uptime_get_32() - start_ms) < APP_BOOT_GPS_SYNC_TIMEOUT_MS) {
		bool rtc_synced = false;
		uint32_t elapsed_ms = k_uptime_get_32() - start_ms;
		uint32_t remain_ms = APP_BOOT_GPS_SYNC_TIMEOUT_MS - elapsed_ms;

		LOG_INF("[BOOT] GPS time sync attempt start (remain=%u ms)",
			(unsigned int)remain_ms);
		if (task_gps_acquire_with_timeout_main_alive(remain_ms, &rtc_synced) && rtc_synced &&
		    is_gps_time_legal()) {
			LOG_INF("[BOOT] GPS legal time ready");
			return;
		}

		if ((k_uptime_get_32() - start_ms) >= APP_BOOT_GPS_SYNC_TIMEOUT_MS) {
			break;
		}

		LOG_WRN("[BOOT] GPS time sync not ready, retry in %u ms",
			(unsigned int)APP_BOOT_GPS_RETRY_DELAY_MS);
		k_sleep(K_MSEC(APP_BOOT_GPS_RETRY_DELAY_MS));
	}

	LOG_ERR("[BOOT] GPS time sync failed within %u ms",
		(unsigned int)APP_BOOT_GPS_SYNC_TIMEOUT_MS);
}

static bool app_boot_is_shutdown_wake_reboot(bool reset_cause_valid, uint32_t reset_cause)
{
	return reset_cause_valid && ((reset_cause & RESET_LOW_POWER_WAKE) != 0U);
}

int main(void)
{
	// k_sleep(K_SECONDS(3));
	// (void)task_rtc_init();

	// // 直接进入休眠，不进入正常的active运行态，来验证RTC唤醒和低电压唤醒功能
	// (void)app_deep_sleep_enter(CONFIG_APP_DEEP_SLEEP_WAKE_SEC, "debug_direct_entry");

	app_pm_boot_guard_lock();

	uint32_t reset_cause = 0U;
	bool reset_cause_valid = (hwinfo_get_reset_cause(&reset_cause) == 0);
	if (reset_cause_valid) {
		hwinfo_clear_reset_cause();
	}

	LOG_INF("FW version: %u.%u.%u",
		(unsigned int)app_state.fw_version_major,
		(unsigned int)app_state.fw_version_minor,
		(unsigned int)app_state.fw_version_patch);
	LOG_INF("Feature flags: fsm=%d deep=%d retention=%d deep_sim=%d",
		APP_LOW_POWER_FSM_ENABLED,
		APP_DEEP_SLEEP_ENABLED,
		APP_RETENTION_ENABLED,
		APP_DEEP_SLEEP_SIMULATE_ENABLED);
	LOG_INF("Debug flags: mic_skip_gps_lora=%d",
		APP_MICROPHONE_DEBUG_SKIP_GPS_LORA_ENABLED);
	LOG_INF("Wake source flags: button=%d periodic=%d comm=%d rtc=%d sound=%d low_bat=%d",
		APP_WAKEUP_SRC_BUTTON_ENABLED,
		APP_WAKEUP_SRC_PERIODIC_ENABLED,
		APP_WAKEUP_SRC_COMM_ENABLED,
		APP_WAKEUP_SRC_RTC_ALARM_ENABLED,
		APP_WAKEUP_SRC_SOUND_ENABLED,
		APP_WAKEUP_SRC_LOW_BAT_ENABLED);
	if (reset_cause_valid) {
		LOG_INF("[BOOT] reset_cause=0x%08x low_power=%d shutdown_wake_reboot=%d",
			(unsigned int)reset_cause,
			(reset_cause & RESET_LOW_POWER_WAKE) != 0U ? 1 : 0,
			app_boot_is_shutdown_wake_reboot(reset_cause_valid, reset_cause) ? 1 : 0);
		LOG_INF("[BOOT] reset flags: pin=%d software=%d brownout=%d por=%d watchdog=%d debug=%d",
			(reset_cause & RESET_PIN) != 0U ? 1 : 0,
			(reset_cause & RESET_SOFTWARE) != 0U ? 1 : 0,
			(reset_cause & RESET_BROWNOUT) != 0U ? 1 : 0,
			(reset_cause & RESET_POR) != 0U ? 1 : 0,
			(reset_cause & RESET_WATCHDOG) != 0U ? 1 : 0,
			(reset_cause & RESET_DEBUG) != 0U ? 1 : 0);
	}
	log_boot_self_check();

	int confirm_ret = boot_write_img_confirmed();
	if (confirm_ret == 0) {
		LOG_INF("MCUboot image confirmed");
	} else {
		LOG_WRN("MCUboot confirm skipped/failed: %d", confirm_ret);
	}

	if (app_boot_is_shutdown_wake_reboot(reset_cause_valid, reset_cause)) {
		LOG_INF("[BOOT] Detected RTC/deep-sleep shutdown wake reboot; boot flow restarts from main()");
	}

	/* Cold power-cycle before codec/mic init to discharge
	 * v_periph rail and start ADC3101 from a clean state.
	 */
	(void)power_ctrl_vperiph_off();
	k_msleep(APP_BOOT_COLD_POWERCYCLE_MS);
	(void)power_ctrl_vperiph_on();
	(void)task_status_led_init();

	if (task_ina3221_init() < 0) {
		LOG_ERR("INA3221 worker init failed");
	}

	if (task_ina3221_read_now() == 0) {
		int32_t batt_mv = (int32_t)(app_state.ina_ch2_voltage_v * 1000.0f);
		LOG_INF("[BOOT] battery after wake = %d mV", (int)batt_mv);
		if (batt_mv < APP_LOW_BATTERY_MV) {
			LOG_WRN("[BOOT] battery still low after wake, re-enter shutdown");
			int deep_sleep_ret = app_deep_sleep_enter(CONFIG_APP_DEEP_SLEEP_WAKE_SEC,
				"boot_low_battery_rearm");
			if (deep_sleep_ret < 0) {
				LOG_ERR("[BOOT] low-battery deep sleep entry failed: %d", deep_sleep_ret);
			}
			return 0;
		}
	}

	(void)task_rtc_init();

	if (APP_RETENTION_ENABLED) {
		int retained_ret = retained_state_init_or_reset();
		if (retained_ret < 0) {
			LOG_WRN("[BOOT] retained_state_init_or_reset failed: %d", retained_ret);
		}
	}
	task_storage_sd_fuse_init();

	LOG_INF("[BOOT] defer synchronous SD mount until watchdog is active");

	(void)task_comm_init();

	if (APP_WAKEUP_SRC_BUTTON_ENABLED) {
		(void)task_button_init();
	} else {
		LOG_INF("[PWR] button wakeup source disabled by config");
	}

	if (APP_WAKEUP_SRC_SOUND_ENABLED) {
		(void)task_sound_wakeup_init();
	} else {
		LOG_INF("[PWR] sound wakeup source disabled by config");
	}

	uint32_t mic_init_start_ms = k_uptime_get_32();
	
	int mic_init_ret = task_microphone_init();

	uint32_t mic_init_cost_ms = k_uptime_get_32() - mic_init_start_ms;
	LOG_INF("[BOOT] microphone init ret=%d cost=%u ms",
		mic_init_ret,
		(unsigned int)mic_init_cost_ms);
	if (mic_init_ret < 0) {
		LOG_ERR("Mic init failed");
	}

	task_sensor_sample();

	
	// if (task_imu_init() < 0) {
	// 	LOG_ERR("IMU init failed");
	// }
	// task_imu_sample();

	if (APP_MICROPHONE_DEBUG_SKIP_GPS_LORA_ENABLED) {
		LOG_INF("[BOOT] microphone debug mode: skip startup LoRaWAN connect");
	} else {
		bool force_fresh_join = reset_cause_valid &&
			((reset_cause & RESET_PIN) != 0U);

		LOG_INF("[BOOT] LoRaWAN startup policy: %s",
			force_fresh_join ?
			"pin reset requires fresh OTAA join" :
			"restore persisted session when available");

		int startup_lora_ret = task_lorawan_connect(force_fresh_join);

		if (startup_lora_ret != 0) {
			LOG_WRN("Startup LoRaWAN connect failed; will retry during runtime");
		} else if (APP_LORAWAN_BOOT_UPLINK_DEBUG_ENABLED) {
			LOG_INF("[BOOT] LoRaWAN boot uplink debug enabled; send immediate uplink");
			int boot_uplink_ret = task_lorawan_send_boot_debug_uplink();

			if (boot_uplink_ret < 0) {
				LOG_WRN("[BOOT] LoRaWAN boot debug uplink failed: %d", boot_uplink_ret);
			} else if (APP_LORAWAN_BOOT_REPEAT_UPLINK_DEBUG_ENABLED) {
				LOG_INF("[BOOT] LoRaWAN boot repeat debug enabled; wait %u ms before second uplink",
					(unsigned int)CONFIG_APP_LORAWAN_BOOT_REPEAT_DELAY_MS);
				boot_debug_wait_with_watchdog_feed(CONFIG_APP_LORAWAN_BOOT_REPEAT_DELAY_MS);
				LOG_INF("[BOOT] LoRaWAN boot repeat debug: send second uplink on same session");
				int repeat_uplink_ret = task_lorawan_send_boot_debug_uplink();

				if (repeat_uplink_ret < 0) {
					LOG_WRN("[BOOT] LoRaWAN boot repeat debug uplink failed: %d",
						repeat_uplink_ret);
				}
			}
		}
	}

	int wdt_ret = task_watchdog_init();
	if (wdt_ret == 0) {
		LOG_INF("[BOOT] All devices initialized; watchdog active");
	} else {
		LOG_WRN("[BOOT] All devices initialized; watchdog inactive (init ret=%d)", wdt_ret);
	}

	if (wdt_ret == 0) {
		task_watchdog_mark_main_alive();
		uint32_t sd_init_start_ms = k_uptime_get_32();
		task_sd_ensure_mounted();
		uint32_t sd_init_cost_ms = k_uptime_get_32() - sd_init_start_ms;
		task_watchdog_mark_main_alive();
		LOG_INF("[BOOT] watchdog-protected SD ensure mounted cost=%u ms mounted=%u fuse=%u",
			(unsigned int)sd_init_cost_ms,
			(unsigned int)(app_state.sd_mounted ? 1U : 0U),
			(unsigned int)(task_storage_sd_fuse_active() ? 1U : 0U));
		task_dfu_check_and_apply();
		task_watchdog_mark_main_alive();
	} else {
		LOG_WRN("[BOOT] skip synchronous SD mount/DFU because watchdog is inactive");
	}

	uint32_t now_epoch = 0U;
	if (task_rtc_get_epoch_local(&now_epoch) < 0) {
		LOG_WRN("[PWR] GPS resync check failed to get RTC local epoch");
		ensure_boot_gps_time_blocking();
	} else {
		LOG_INF("[BOOT] RTC local epoch read at startup: %u", (unsigned int)now_epoch);
	}

	task_status_led_event(STATUS_LED_BOOT_OK);
	k_msleep(150);

	if (power_fsm_init() < 0) {
		LOG_ERR("power_fsm_init failed");
	}
	LOG_INF("Power FSM scheduler started");

	app_pm_boot_guard_unlock();
	LOG_INF("[BOOT] Init complete, entering normal runtime");

	while (1) {
		task_watchdog_mark_main_alive();
		power_fsm_tick();
		task_watchdog_mark_main_alive();
		k_timeout_t timeout = power_fsm_next_wait_timeout();
		uint32_t timeout_ms = k_ticks_to_ms_floor32(timeout.ticks);
		LOG_INF("Power FSM waiting for event or timeout (%u ms)",
			(unsigned int)timeout_ms);
		power_fsm_wait_for_event(timeout);
	}

	return 0;
}
```

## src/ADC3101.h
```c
#ifndef _ADC3101_H_
#define _ADC3101_H_

#include <stdbool.h>
#include <stdint.h>
#include <zephyr/device.h>

#define ADC3101_ADDR00 0x18

#define ADC3101_SETUP_OK          0
#define ADC3101_SETUP_WEAK_VERIFY 1

/* Initialize ADC3101 driver with I2C device and address */
void adc3101_init(const struct device *i2c, uint8_t address);

/* Simple register accessors with status feedback */
int adc3101_write(uint8_t reg, uint8_t val);
int adc3101_read(uint8_t reg);

/* Wait until the device ACKs after a cold power-up/reset. */
int adc3101_wait_ready(uint32_t timeout_ms);

/* Run the cold setup sequence (clocking, analog, ADC power, filters). */
int adc3101_setup(bool *weak_verify);

/* Best-effort software shutdown before V_PERIPH is removed. */
int adc3101_soft_powerdown(void);

#endif /* _ADC3101_H_ */
```

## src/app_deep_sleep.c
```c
#include <errno.h>

#include <zephyr/kernel.h>
#include <zephyr/logging/log.h>
#include <zephyr/sys/poweroff.h>

#include "app_feature_flags.h"
#include "tasks.h"

LOG_MODULE_REGISTER(app_deep_sleep, LOG_LEVEL_INF);

#define DEEP_SLEEP_MIN_WAKE_SEC 1U
#define DEEP_SLEEP_SHUTDOWN_SETTLE_MS 200U
#define DEEP_SLEEP_SIM_FEED_SLICE_MS 1000U

static void deep_sleep_simulated_wait(uint32_t wake_sec)
{
	uint32_t remain_ms = wake_sec * 1000U;

	while (remain_ms > 0U) {
		uint32_t slice_ms = (remain_ms > DEEP_SLEEP_SIM_FEED_SLICE_MS) ?
			DEEP_SLEEP_SIM_FEED_SLICE_MS : remain_ms;

		task_watchdog_mark_main_alive();
		task_watchdog_feed();
		k_msleep(slice_ms);
		remain_ms -= slice_ms;
	}
}

int app_deep_sleep_enter(uint32_t wake_sec, const char *reason)
{
	const char *entry_reason = (reason != NULL) ? reason : "unspecified";

	if (wake_sec == 0U) {
		LOG_WRN("[PWR] deep_sleep(%s): wake_sec=0, clamp to %u sec",
			entry_reason, (unsigned int)DEEP_SLEEP_MIN_WAKE_SEC);
		wake_sec = DEEP_SLEEP_MIN_WAKE_SEC;
	}

	int alarm_ret = task_rtc_set_alarm_in_seconds(wake_sec);
	LOG_INF("[PWR] deep_sleep(%s): rtc_alarm ret=%d wake=%u sec",
		entry_reason, alarm_ret, (unsigned int)wake_sec);
	if (alarm_ret < 0) {
		LOG_ERR("[PWR] deep_sleep(%s): abort, rtc alarm setup failed: %d",
			entry_reason, alarm_ret);
		return alarm_ret;
	}

	if (!APP_DEEP_SLEEP_ENABLED || APP_DEEP_SLEEP_SIMULATE_ENABLED) {
		LOG_WRN("[PWR] deep_sleep(%s): simulate enabled, wait %u sec",
			entry_reason, (unsigned int)wake_sec);
		deep_sleep_simulated_wait(wake_sec);
		return 0;
	}

	int prep_ret = power_ctrl_prepare_deep_sleep_all();
	LOG_INF("[PWR] deep_sleep(%s): hardware_prepare ret=%d", entry_reason, prep_ret);
	if (prep_ret < 0) {
		LOG_ERR("[PWR] deep_sleep(%s): abort, hardware prepare failed: %d",
			entry_reason, prep_ret);
		return prep_ret;
	}

	int route_ret = task_rtc_prepare_shutdown_wakeup_route();
	LOG_INF("[PWR] deep_sleep(%s): rtc_wake_route ret=%d", entry_reason, route_ret);
	if (route_ret < 0) {
		LOG_ERR("[PWR] deep_sleep(%s): abort, RTC wake route failed: %d",
			entry_reason, route_ret);
		return route_ret;
	}

	LOG_WRN("[PWR] deep_sleep(%s): final state, alarm armed, wake flags cleared, rails prepared",
		entry_reason);
	k_msleep(DEEP_SLEEP_SHUTDOWN_SETTLE_MS);

	LOG_INF("[PWR] Entering deep sleep by sys_poweroff() -> STM32 shutdown");
	sys_poweroff();

	LOG_ERR("[PWR] deep_sleep(%s): sys_poweroff returned unexpectedly", entry_reason);
	return -EIO;
}
```

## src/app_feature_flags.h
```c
#ifndef APP_FEATURE_FLAGS_H
#define APP_FEATURE_FLAGS_H

#if defined(CONFIG_APP_LOW_POWER_FSM)
#define APP_LOW_POWER_FSM_ENABLED 1
#else
#define APP_LOW_POWER_FSM_ENABLED 0
#endif

#if defined(CONFIG_APP_DEEP_SLEEP_ENABLE)
#define APP_DEEP_SLEEP_ENABLED 1
#else
#define APP_DEEP_SLEEP_ENABLED 0
#endif

#if defined(CONFIG_APP_RETENTION_ENABLE)
#define APP_RETENTION_ENABLED 1
#else
#define APP_RETENTION_ENABLED 0
#endif

#if defined(CONFIG_APP_DEEP_SLEEP_SIMULATE)
#define APP_DEEP_SLEEP_SIMULATE_ENABLED 1
#else
#define APP_DEEP_SLEEP_SIMULATE_ENABLED 0
#endif

#if defined(CONFIG_APP_MICROPHONE_DEBUG_SKIP_GPS_LORA)
#define APP_MICROPHONE_DEBUG_SKIP_GPS_LORA_ENABLED 1
#else
#define APP_MICROPHONE_DEBUG_SKIP_GPS_LORA_ENABLED 0
#endif

#if defined(CONFIG_APP_LORAWAN_BOOT_UPLINK_DEBUG)
#define APP_LORAWAN_BOOT_UPLINK_DEBUG_ENABLED 1
#else
#define APP_LORAWAN_BOOT_UPLINK_DEBUG_ENABLED 0
#endif

#if defined(CONFIG_APP_LORAWAN_BOOT_REPEAT_UPLINK_DEBUG)
#define APP_LORAWAN_BOOT_REPEAT_UPLINK_DEBUG_ENABLED 1
#else
#define APP_LORAWAN_BOOT_REPEAT_UPLINK_DEBUG_ENABLED 0
#endif

#ifndef CONFIG_APP_LORAWAN_BOOT_REPEAT_DELAY_MS
#define CONFIG_APP_LORAWAN_BOOT_REPEAT_DELAY_MS 60000
#endif

#if defined(CONFIG_APP_WAKEUP_SRC_BUTTON)
#define APP_WAKEUP_SRC_BUTTON_ENABLED 1
#else
#define APP_WAKEUP_SRC_BUTTON_ENABLED 0
#endif

#if defined(CONFIG_APP_WAKEUP_SRC_PERIODIC)
#define APP_WAKEUP_SRC_PERIODIC_ENABLED 1
#else
#define APP_WAKEUP_SRC_PERIODIC_ENABLED 0
#endif

#if defined(CONFIG_APP_WAKEUP_SRC_COMM)
#define APP_WAKEUP_SRC_COMM_ENABLED 1
#else
#define APP_WAKEUP_SRC_COMM_ENABLED 0
#endif

#if defined(CONFIG_APP_WAKEUP_SRC_RTC_ALARM)
#define APP_WAKEUP_SRC_RTC_ALARM_ENABLED 1
#else
#define APP_WAKEUP_SRC_RTC_ALARM_ENABLED 0
#endif

#if defined(CONFIG_APP_WAKEUP_SRC_SOUND)
#define APP_WAKEUP_SRC_SOUND_ENABLED 1
#else
#define APP_WAKEUP_SRC_SOUND_ENABLED 0
#endif

#if defined(CONFIG_APP_WAKEUP_SRC_LOW_BAT)
#define APP_WAKEUP_SRC_LOW_BAT_ENABLED 1
#else
#define APP_WAKEUP_SRC_LOW_BAT_ENABLED 0
#endif

#endif /* APP_FEATURE_FLAGS_H */
```

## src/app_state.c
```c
/*
 * Global Application State
 * Shared by all tasks
 */

#include "tasks.h"

/* Global application state instance */
app_state_t app_state = {
	.fw_version_major = APP_FW_VERSION_MAJOR,
	.fw_version_minor = APP_FW_VERSION_MINOR,
	.fw_version_patch = APP_FW_VERSION_PATCH,
	.button_press_count = 0,
	.led_state = false,
	.last_solar_mv = 0,
	.last_battery_mv = 0,
	.last_temp_celsius = 0.0f,
	.last_press_kpa = 0.0f,
	.last_humidity_percent = 0.0f,
	.imu_accel_x_g = 0.0f,
	.imu_accel_y_g = 0.0f,
	.imu_accel_z_g = 0.0f,
	.voltage_read_count = 0,
	.sensor_read_count = 0,
	.imu_read_count = 0,
	.ina_ch1_voltage_v = 0.0f,
	.ina_ch2_voltage_v = 0.0f,
	.ina_ch3_voltage_v = 0.0f,
	.ina_ch1_current_ma = 0.0f,
	.ina_ch2_current_ma = 0.0f,
	.ina_ch3_current_ma = 0.0f,
	.ina_read_count = 0,
	.sd_mounted = false,
	.sd_listed_once = false,
	.sd_capacity_valid = false,
	.sd_total_mib = 0,
	.sd_free_mib = 0,
	.mic_recording = false,
	.mic_record_request = false,
	.mic_codec_zero_fault = false,
	.lorawan_joined = false,
	.lorawan_join_attempts = 0,
	.lorawan_uplink_count = 0,
	.lorawan_last_error = 0,
	.duty_cycle_fail_count = 0,
	.dropped_window_count = 0,
	.gps_valid = false,
	.gps_latitude = 0.0f,
	.gps_longitude = 0.0f,
	.gps_fix_count = 0,
	.infer_last_label = -1,
	.infer_total_count = 0,
	.infer_last_rms = 0.0f,
	.infer_avg_rms = 0.0f,
	.infer_avg_rms_uplink = 0.0f,
	.infer_label_counts_window = {0},
	.infer_label_counts_uplink = {0},
	.infer_total_count_uplink = 0,
	.infer_window_count = 0,
	.infer_window_ready = false,
	.infer_mfcc_chunk_ms = {0, 0, 0, 0, 0, 0},
	.infer_mfcc_series_ms = 0,
	.infer_detector_ms = 0,
	.infer_classifier_ms = 0,
	.infer_capture_to_done_ms = 0,
	.infer_session_id_done = 0,
	.sdon = APP_SDON_NO_RECENT_WRITE,
	.sd_usage_percent = 0,
	.sd_pcm_write_enabled = false,
	.sd_pcm_blocks = 0,
	.sd_pcm_total_bytes = 0,
	.sd_pcm_total_ms = 0,
	.sd_pcm_max_ms = 0,
	.sd_pcm_avg_ms = 0,
	.sd_pcm_last_block_ms = 0
};
```

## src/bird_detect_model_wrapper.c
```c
#include "qualia_model_wrappers.h"

/* The Qualia single-file headers export generic global symbols such as cnn()
 * and cnn_layers_conv1_kernel. Prefix the detector symbols so the detector and
 * classifier can coexist in one firmware image.
 */
#define cnn bird_detect_cnn
#define reset bird_detect_reset
#define cnn_layers_conv1 bird_detect_cnn_layers_conv1
#define cnn_layers_conv2 bird_detect_cnn_layers_conv2
#define cnn_layers_conv3 bird_detect_cnn_layers_conv3
#define cnn_layers_postpool bird_detect_cnn_layers_postpool
#define cnn_layers_flatten bird_detect_cnn_layers_flatten
#define cnn_layers_fc1 bird_detect_cnn_layers_fc1
#define cnn_layers_conv1_output_type bird_detect_cnn_layers_conv1_output_type
#define cnn_layers_conv2_output_type bird_detect_cnn_layers_conv2_output_type
#define cnn_layers_conv3_output_type bird_detect_cnn_layers_conv3_output_type
#define cnn_layers_postpool_output_type bird_detect_cnn_layers_postpool_output_type
#define cnn_layers_flatten_output_type bird_detect_cnn_layers_flatten_output_type
#define cnn_layers_fc1_output_type bird_detect_cnn_layers_fc1_output_type
#define cnn_layers_conv1_bias bird_detect_cnn_layers_conv1_bias
#define cnn_layers_conv1_kernel bird_detect_cnn_layers_conv1_kernel
#define cnn_layers_conv2_bias bird_detect_cnn_layers_conv2_bias
#define cnn_layers_conv2_kernel bird_detect_cnn_layers_conv2_kernel
#define cnn_layers_conv3_bias bird_detect_cnn_layers_conv3_bias
#define cnn_layers_conv3_kernel bird_detect_cnn_layers_conv3_kernel
#define cnn_layers_fc1_bias bird_detect_cnn_layers_fc1_bias
#define cnn_layers_fc1_kernel bird_detect_cnn_layers_fc1_kernel
#define input_t bird_detect_input_t
#define output_t bird_detect_output_t

#include "bird_detect_mfcc_model_floating.h"

_Static_assert(MODEL_INPUT_DIM_0 == BIRD_MODEL_INPUT_DIM_0, "bird detector input frame count mismatch");
_Static_assert(MODEL_INPUT_DIM_1 == BIRD_MODEL_INPUT_DIM_1,
               "bird detector model must be regenerated for 186x10 MFCC input");
_Static_assert(MODEL_OUTPUT_SAMPLES == BIRD_DETECT_OUTPUT_SAMPLES, "bird detector output size mismatch");
#if defined(CONFIG_APP_INFERENCE_USE_INT16_QUANT_MODEL)
_Static_assert(MODEL_INPUT_SCALE_FACTOR == BIRD_MODEL_INPUT_SCALE_FACTOR,
               "bird detector input scale factor mismatch");
_Static_assert(MODEL_OUTPUT_SCALE_FACTOR == BIRD_MODEL_OUTPUT_SCALE_FACTOR,
               "bird detector output scale factor mismatch");
#endif
_Static_assert(sizeof(input_t) == sizeof(bird_model_input_t[BIRD_MODEL_INPUT_DIM_0][BIRD_MODEL_INPUT_DIM_1]),
               "bird detector input type mismatch");
_Static_assert(sizeof(output_t) == sizeof(bird_model_output_t[BIRD_DETECT_OUTPUT_SAMPLES]),
               "bird detector output type mismatch");

void bird_detect_model_run(
    const bird_model_input_t input[BIRD_MODEL_INPUT_DIM_0][BIRD_MODEL_INPUT_DIM_1],
    bird_model_output_t output[BIRD_DETECT_OUTPUT_SAMPLES])
{
    bird_detect_cnn(input, output);
}
```
